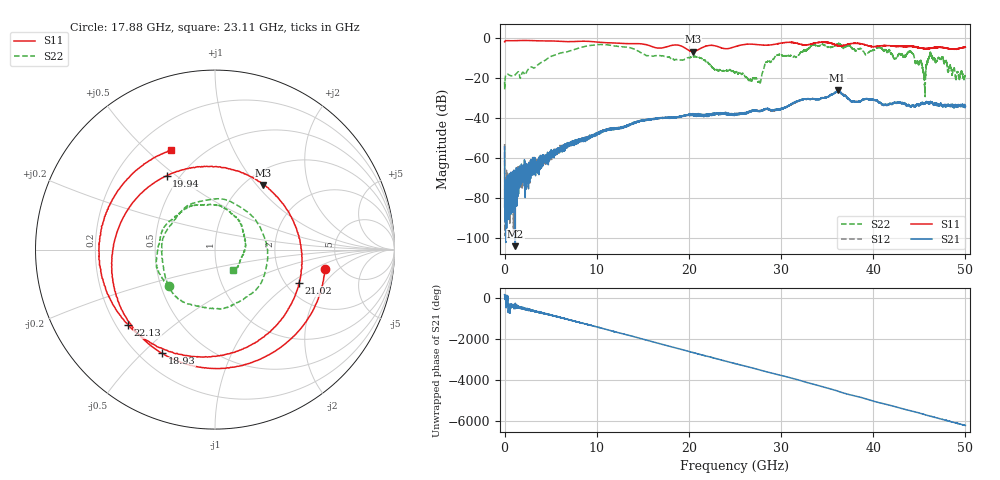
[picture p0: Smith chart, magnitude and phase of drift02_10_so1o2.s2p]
!Created with skrf (http://scikit-rf.org).
# Hz S RI R 50.0
!freq ReS11 ImS11 ReS21 ImS21 ReS12 ImS12 ReS22 ImS22
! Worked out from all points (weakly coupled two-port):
!   10001 points, 300 kHz to 50 GHz, reference 50 ohm
!   highest |S21| = -26.29 dB at 36.13 GHz (marker M1); lowest = -104.3 dB at 1.16 GHz (marker M2)
!   lowest |S11| = -6.9 dB at 20.44 GHz (marker M3), VSWR 2.64, Z = 60.1 + j54.3 ohm
!   |S11| at or under -10 dB: nowhere
!   |S22| runs from -29.5 to -2.7 dB; largest |S21 - S12| = 0.005
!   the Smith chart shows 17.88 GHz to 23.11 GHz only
!   S11 on the Smith chart (normalised r, x): 17.88 GHz: 3.80, -1.33; 18.93 GHz: 0.29, -0.58; 19.94 GHz: 0.43, +0.46; 21.02 GHz: 2.35, -1.16; 22.13 GHz: 0.25, -0.35; 23.11 GHz: 0.34, +0.60
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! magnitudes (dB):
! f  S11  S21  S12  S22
! 300 kHz  -2.1  -54.7  -53.2  -22.0
! 270.3 MHz  -1.4  -76.0  -67.7  -18.2
! 1.16 GHz  -1.4  -104.3  -71.1  -18.4
! 8.335 GHz  -1.7  -51.2  -50.9  -4.7
! 16.67 GHz  -5.2  -40.4  -40.4  -8.9
! 17.88 GHz  -4.1  -39.9  -39.9  -9.7
! 18.93 GHz  -3.8  -39.5  -39.5  -10.9
! 19.94 GHz  -6.2  -38.5  -38.6  -9.9
! 20.44 GHz  -6.9  -38.6  -38.5  -9.7
! 21.02 GHz  -6.0  -38.5  -38.9  -9.5
! 22.13 GHz  -3.9  -38.5  -38.7  -12.7
! 23.11 GHz  -4.4  -37.9  -38.0  -16.4
! 25 GHz  -4.5  -38.1  -38.4  -17.4
! 27.61 GHz  -3.5  -36.8  -36.5  -21.9
! 28.5 GHz  -3.7  -35.7  -35.8  -12.0
! 33.34 GHz  -3.0  -30.6  -30.6  -3.8
! 36.13 GHz  -4.0  -26.3  -27.1  -3.1
! 41.67 GHz  -4.0  -33.5  -33.2  -6.4
! 44.12 GHz  -4.2  -34.4  -34.4  -7.2
! 45.5 GHz  -5.3  -32.6  -33.0  -18.5
! 46.25 GHz  -5.2  -32.4  -32.2  -7.9
! 50 GHz  -4.7  -34.3  -34.4  -18.7
